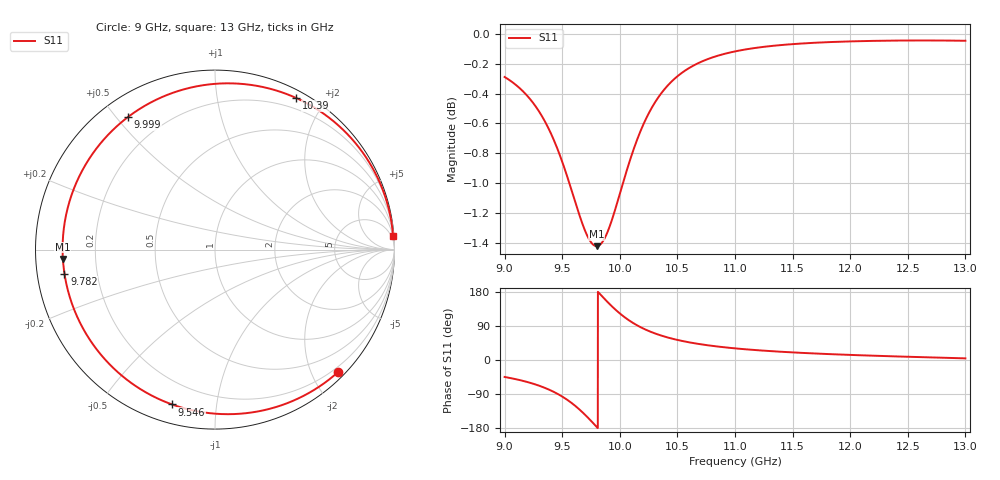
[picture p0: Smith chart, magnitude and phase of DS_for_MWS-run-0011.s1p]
! TOUCHSTONE file generated by CST DESIGN STUDIO
! Date and time: Wed Feb  5 13:43:30 2025
! Project name: C:\Work\MatlabApps\UnitCellOptimizationMatlab\CST\unitcell.cst
! Tree item: Tasks\Sweep1\SPara1\S-Parameters
! Header version: 2024
! Port assignment regex: !\s*Touchstone port\s*([0-9]+)\s*=\s*(CST MWS port|CST DES external port|CST DES block port)\s*(.+)\s* \(\"(.*)\"\)(\s*mode\s*([0-9]+))?.*
! Touchstone port assignment:
! Touchstone port 1 = CST DES external port 1 ("")
# GHz S MA R 50
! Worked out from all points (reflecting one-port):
!   4001 points, 9 GHz to 13 GHz, reference 50 ohm
!   lowest |S11| = -1.4 dB at 9.799 GHz (marker M1), VSWR 12.25, Z = 4.08 - j1.54 ohm
!   phase of S11 starts at -45 deg and turns -311 deg over the sweep
!   S11 on the Smith chart (normalised r, x): 9 GHz: 0.11, -2.43; 9.546 GHz: 0.09, -0.76; 9.782 GHz: 0.08, -0.08; 9.999 GHz: 0.08, +0.54; 10.39 GHz: 0.08, +1.66; 13 GHz: 2, +26
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9  0.9673 -44.7
9.145  0.9579 -54.0
9.276  0.9448 -65.3
9.39  0.9282 -78.8
9.5  0.9062 -96.4
9.546  0.8953 -105.6
9.605  0.8805 -119.0
9.661  0.867 -133.7
9.726  0.8546 -153.0
9.782  0.8494 -170.9
9.799  0.8491 -176.4
9.843  0.8512 169.2
9.888  0.8574 154.8
9.945  0.8697 137.7
9.999  0.8837 123.2
10  0.884 122.9
10.072  0.9031 106.3
10.153  0.9223 91.0
10.266  0.9429 74.7
10.387  0.9581 61.9
10.5  0.9678 53.0
10.602  0.974 46.6
10.717  0.9791 40.9
11  0.9865 30.7
11.5  0.9921 20.0
12  0.9942 13.4
12.5  0.9949 8.5
13  0.9946 4.3
